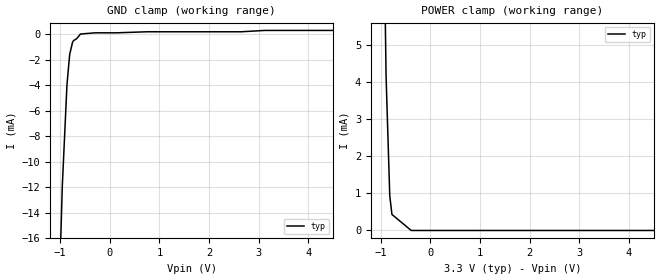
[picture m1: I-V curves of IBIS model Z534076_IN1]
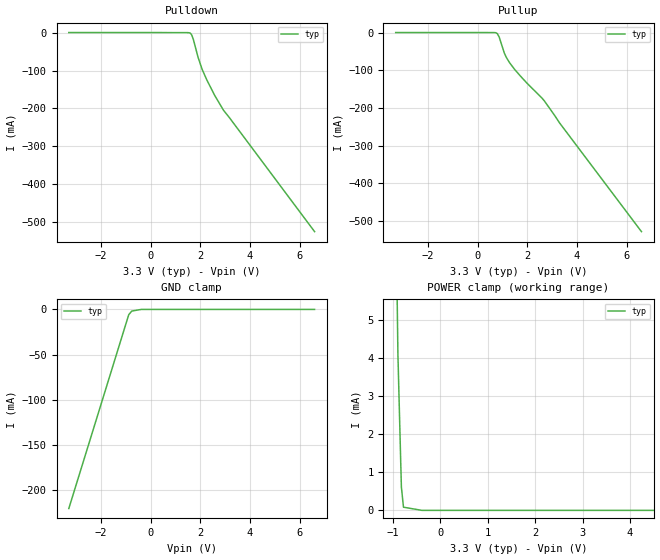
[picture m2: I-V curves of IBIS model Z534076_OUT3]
| YOU ARE ONLY AUTHORIZED TO USE THIS SOFTWARE
| ACCORDING TO LICENSOR'S LICENSE RESTRICTIONS.
[IBIS Ver] 3.1
[File Name] mc100lvel14dw_33.ibs
[File Rev] 3
[Source] Derived From mc100lvel17 model
[Date] 5/4/2004
[Copyright]
| (C) COPYRIGHT 1993-2000
| MENTOR GRAPHICS CORPORATION
| ICX STANDARD LIBRARY, ICX PROJECT MODELING,
| ICX CUSTOM MODELING, ICX VENDOR MODEL
| ALL RIGHTS RESERVED.
| THE FOLLOWING ARE TRADEMARKS OR SERVICE MARKS OF
| MENTOR GRAPHICS CORPORATION:ICX (R), ICX STANDARD
| LIBRARY(R), ICX PROJECT MODELING(R), ICX CUSTOM
| MODELING(R), qualityIBIS(TM), MODELVIEWER(TM),
| AND MODELEDITOR(TM)
| ALL COPIES OF SOFTWARE, INCLUDING BUT NOT LIMITED TO
| ANY MODIFICATIONS, ENHANCEMENTS OR DERIVATIVE WORKS,
| MUST CONTAIN ALL MENTOR GRAPHICS CORPORATION'S
| NOTICES AND LEGENDS, INCLUDING THOSE EMBEDDED IN
| SOFTWARE AND THOSE AFFIXED TO SOFTWARE MEDIUM
| AND CONTAINER, AS RECEIVED FROM MENTOR GRAPHICS
| CORPORATION.
|  ZAP Model Builder 2.7
[Component] MC100LVEL14DW_33
[Manufacturer] OnSemiconductor
[Package]
| variable   typ   min   max
R_pkg  .178ohms NA NA
L_pkg  4.42nH NA NA
C_pkg  .62pF NA NA
[Pin] signal_name  model_name  R_pin  L_pin C_pin
1 Q0 Z534076_OUT3 .178 4.42n .62p
2 _Q0 Z534076_OUT3 .178 4.42n .62p
3 Q1 Z534076_OUT3 .178 4.42n .62p
4 _Q1 Z534076_OUT3 .178 4.42n .62p
5 Q2 Z534076_OUT3 .178 4.42n .62p
6 _Q2 Z534076_OUT3 .178 4.42n .62p
7 Q3 Z534076_OUT3 .178 4.42n .62p
8 _Q3 Z534076_OUT3 .178 4.42n .62p
9 Q4 Z534076_OUT3 .178 4.42n .62p
10 _Q4 Z534076_OUT3 .178 4.42n .62p
11 VEE POWER .186 5.37n .68p
12 SEL Z534076_IN1 .17 3.51n .56p
13 VBB POWER .186 5.37n .68p
14 _CLK Z534076_IN2 .17 3.51n .56p
15 CLK Z534076_IN1 .17 3.51n .56p
16 SCLK Z534076_IN1 .17 3.51n .56p
17 NC NC
18 VCC POWER .186 5.37n .68p
19 _EN Z534076_IN1 .17 3.51n .56p
20 VCC POWER .186 5.37n .68p
[Diff Pin] inv_pin vdiff tdelay_typ tdelay_min tdelay_max
14 15 150mv NA NA NA
1 2 NA .680ns .580ns .780ns
3 4 NA .680ns .580ns .780ns
5 6 NA .680ns .580ns .780ns
7 8 NA .680ns .580ns .780ns
9 10 NA .680ns .580ns .780ns
| Models and submodels in the file (3): Z534076_IN1 (Input_ECL), Z534076_IN2 (Input_ECL), Z534076_OUT3 (Output_ECL)
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| (C) COPYRIGHT 1993-2000
| MENTOR GRAPHICS CORPORATION
| ICX STANDARD LIBRARY, ICX PROJECT MODELING,
| ICX CUSTOM MODELING, ICX VENDOR MODEL
| ALL RIGHTS RESERVED.
| THE FOLLOWING ARE TRADEMARKS OR SERVICE MARKS OF
| MENTOR GRAPHICS CORPORATION:ICX (R), ICX STANDARD
| LIBRARY(R), ICX PROJECT MODELING(R), ICX CUSTOM
| MODELING(R), qualityIBIS(TM), MODELVIEWER(TM),
| AND MODELEDITOR(TM)
| ALL COPIES OF SOFTWARE, INCLUDING BUT NOT LIMITED TO
| ANY MODIFICATIONS, ENHANCEMENTS OR DERIVATIVE WORKS,
| MUST CONTAIN ALL MENTOR GRAPHICS CORPORATION'S
| NOTICES AND LEGENDS, INCLUDING THOSE EMBEDDED IN
| SOFTWARE AND THOSE AFFIXED TO SOFTWARE MEDIUM
| AND CONTAINER, AS RECEIVED FROM MENTOR GRAPHICS
| CORPORATION.
| Model Application Version 1.89 2/18/99.
[Model] Z534076_IN1
Model_type Input_ECL
Vinl = 2.115V
Vinh = 2.301V
C_comp 2.000pF NA NA
| variable typ   min   max
[Voltage Range] 3.300V NA NA
[GND Clamp Reference] 0.000V NA NA
[POWER Clamp Reference] 3.300V NA NA
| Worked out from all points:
|   GND clamp passes 1 mA (typ) near -0.77 V on its own axis
|   POWER clamp passes 1 mA (typ) near -0.82 V on its own axis
[GND Clamp]
-3.3V     -423.7mA   NA         NA
-1.044V   -23.23mA   NA         NA
-957mV    -11.84mA   NA         NA
-864mV    -3.967mA   NA         NA
-809.1mV  -1.569mA   NA         NA
-751.9mV  -625.3uA   NA         NA
-732.3mV  -487.5uA   NA         NA
-590.8mV  35.01uA    NA         NA
748.1mV   210.2uA    NA         NA
2.647V    210.2uA    NA         NA
3.122V    316.1uA    NA         NA
6.6V      316.1uA    NA         NA
[POWER Clamp]
-3.3V     757.2mA    NA         NA
-1.069V   27.22mA    NA         NA
-1.005V   14.63mA    NA         NA
-894mV    4.144mA    NA         NA
-820mV    934.9uA    NA         NA
-776mV    432.2uA    NA         NA
-388mV    0A         NA         NA
6.6V      0A         NA         NA
| (C) COPYRIGHT 1993-2000
| MENTOR GRAPHICS CORPORATION
| ICX STANDARD LIBRARY, ICX PROJECT MODELING,
| ICX CUSTOM MODELING, ICX VENDOR MODEL
| ALL RIGHTS RESERVED.
| THE FOLLOWING ARE TRADEMARKS OR SERVICE MARKS OF
| MENTOR GRAPHICS CORPORATION:ICX (R), ICX STANDARD
| LIBRARY(R), ICX PROJECT MODELING(R), ICX CUSTOM
| MODELING(R), qualityIBIS(TM), MODELVIEWER(TM),
| AND MODELEDITOR(TM)
| ALL COPIES OF SOFTWARE, INCLUDING BUT NOT LIMITED TO
| ANY MODIFICATIONS, ENHANCEMENTS OR DERIVATIVE WORKS,
| MUST CONTAIN ALL MENTOR GRAPHICS CORPORATION'S
| NOTICES AND LEGENDS, INCLUDING THOSE EMBEDDED IN
| SOFTWARE AND THOSE AFFIXED TO SOFTWARE MEDIUM
| AND CONTAINER, AS RECEIVED FROM MENTOR GRAPHICS
| CORPORATION.
| Model Application Version 1.89 2/18/99.
[Model] Z534076_OUT3
Model_type Output_ECL
Vref=0.000V
Rref=50.00ohms
Cref=2.000pF
Vmeas=2.207V
C_comp 2.000pF NA NA
| variable   typ   min   max
[Voltage Range]   3.300V NA NA
[POWER Clamp Reference] 3.300V NA NA
[Pullup Reference]   3.300V NA NA
[Pulldown Reference]   3.300V NA NA
[GND Clamp Reference]   0.000V NA NA
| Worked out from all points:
|   POWER clamp passes 1 mA (typ) near -0.83 V on its own axis
[GND Clamp]
-3.3V     -220.6mA   NA         NA
-885.8mV  -5.811mA   NA         NA
-761.4mV  -1.812mA   NA         NA
-380.7mV  0A         NA         NA
6.6V      0A         NA         NA
[Pulldown]
-3.3V     277.2uA    NA         NA
1.595V    -1.533mA   NA         NA
1.65V     -6.019mA   NA         NA
1.718V    -18.2mA    NA         NA
1.905V    -64.74mA   NA         NA
2.07V     -96.83mA   NA         NA
2.26V     -124.9mA   NA         NA
2.573V    -165.2mA   NA         NA
2.929V    -204.6mA   NA         NA
6.6V      -525.1mA   NA         NA
[Pullup]
-3.3V     263.4uA    NA         NA
680mV     110.2uA    NA         NA
795mV     -2.69mA    NA         NA
868mV     -11.63mA   NA         NA
1.078V    -54.63mA   NA         NA
1.29V     -80.11mA   NA         NA
1.747V    -116.9mA   NA         NA
2.679V    -180.3mA   NA         NA
3.291V    -238.7mA   NA         NA
6.6V      -528.1mA   NA         NA
[POWER Clamp]
-3.3V     560.9mA    NA         NA
-1.072V   24.39mA    NA         NA
-1.005V   14.48mA    NA         NA
-894mV    4.104mA    NA         NA
-821mV    617.7uA    NA         NA
-777mV    83.4uA     NA         NA
-388.5mV  0A         NA         NA
6.6V      0A         NA         NA
[Ramp]
| variable typ min max
dV/dt_r 486.8m/169.8p NA NA
dV/dt_f 486.8m/178.4p NA NA
R_load = 50.0Ohms
